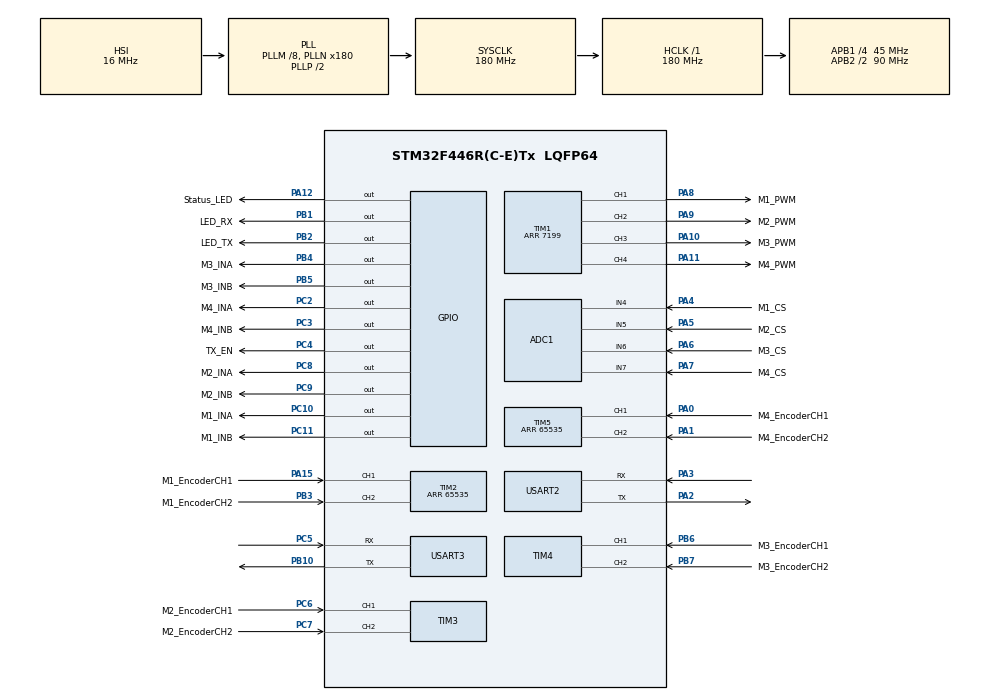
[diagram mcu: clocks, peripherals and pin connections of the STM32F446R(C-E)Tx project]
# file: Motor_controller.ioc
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ADC1.Channel-0\#ChannelRegularConversion=ADC_CHANNEL_4
ADC1.ContinuousConvMode=ENABLE
ADC1.DMAContinuousRequests=ENABLE
ADC1.NbrOfConversion=1
ADC1.NbrOfConversionFlag=1
ADC1.Rank-0\#ChannelRegularConversion=1
ADC1.SamplingTime-0\#ChannelRegularConversion=ADC_SAMPLETIME_3CYCLES
ADC1.ScanConvMode=DISABLE
ADC1.master=1
Dma.ADC1.0.Direction=DMA_PERIPH_TO_MEMORY
Dma.ADC1.0.FIFOMode=DMA_FIFOMODE_DISABLE
Dma.ADC1.0.Instance=DMA2_Stream0
Dma.ADC1.0.MemDataAlignment=DMA_MDATAALIGN_HALFWORD
Dma.ADC1.0.MemInc=DMA_MINC_ENABLE
Dma.ADC1.0.Mode=DMA_CIRCULAR
Dma.ADC1.0.PeriphDataAlignment=DMA_PDATAALIGN_HALFWORD
Dma.ADC1.0.PeriphInc=DMA_PINC_DISABLE
Dma.ADC1.0.Priority=DMA_PRIORITY_LOW
Dma.Request0=ADC1
Mcu.Family=STM32F4
Mcu.Name=STM32F446R(C-E)Tx
Mcu.Package=LQFP64
NVIC.DMA2_Stream0_IRQn=true\:0\:0\:false\:false\:true\:false\:true\:true
NVIC.PriorityGroup=NVIC_PRIORITYGROUP_4
NVIC.TIM1_TRG_COM_TIM11_IRQn=true\:0\:0\:false\:false\:true\:true\:true\:true
NVIC.TIM1_UP_TIM10_IRQn=true\:0\:0\:false\:false\:true\:true\:true\:true
NVIC.TIM2_IRQn=true\:0\:0\:false\:false\:true\:true\:true\:true
NVIC.TIM3_IRQn=true\:0\:0\:false\:false\:true\:true\:true\:true
NVIC.TIM4_IRQn=true\:0\:0\:false\:false\:true\:true\:true\:true
NVIC.TIM5_IRQn=true\:0\:0\:false\:false\:true\:true\:true\:true
NVIC.TIM8_TRG_COM_TIM14_IRQn=true\:0\:0\:false\:false\:true\:true\:true\:true
NVIC.TIM8_UP_TIM13_IRQn=true\:0\:0\:false\:false\:true\:true\:true\:true
NVIC.USART3_IRQn=true\:0\:0\:false\:false\:true\:true\:true\:true
PA0-WKUP.GPIO_Label=M4_EncoderCH1
PA0-WKUP.Signal=S_TIM5_CH1
PA1.GPIO_Label=M4_EncoderCH2
PA1.Signal=S_TIM5_CH2
PA10.GPIO_Label=M3_PWM
PA10.Signal=S_TIM1_CH3
PA11.GPIO_Label=M4_PWM
PA11.Signal=S_TIM1_CH4
PA12.GPIO_Label=Status_LED
PA12.Signal=GPIO_Output
PA13.GPIO_Label=TMS
PA13.Mode=Serial_Wire
PA13.Signal=SYS_JTMS-SWDIO
PA14.GPIO_Label=TCK
PA14.Mode=Serial_Wire
PA14.Signal=SYS_JTCK-SWCLK
PA15.GPIO_Label=M1_EncoderCH1
PA15.Signal=S_TIM2_CH1_ETR
PA2.Mode=Asynchronous
PA2.Signal=USART2_TX
PA3.Mode=Asynchronous
PA3.Signal=USART2_RX
PA4.GPIO_Label=M1_CS
PA4.Signal=ADCx_IN4
PA5.GPIO_Label=M2_CS
PA5.Signal=ADCx_IN5
PA6.GPIO_Label=M3_CS
PA6.Signal=ADCx_IN6
PA7.GPIO_Label=M4_CS
PA7.Signal=ADCx_IN7
PA8.GPIO_Label=M1_PWM
PA8.Signal=S_TIM1_CH1
PA9.GPIO_Label=M2_PWM
PA9.Signal=S_TIM1_CH2
PB1.GPIO_Label=LED_RX
PB1.GPIO_Speed=GPIO_SPEED_FREQ_VERY_HIGH
PB1.Signal=GPIO_Output
PB10.Mode=Asynchronous
PB10.Signal=USART3_TX
PB2.GPIO_Label=LED_TX
PB2.GPIO_Speed=GPIO_SPEED_FREQ_VERY_HIGH
PB2.Signal=GPIO_Output
PB3.GPIO_Label=M1_EncoderCH2
PB3.Signal=S_TIM2_CH2
PB4.GPIO_Label=M3_INA
PB4.GPIO_Speed=GPIO_SPEED_FREQ_VERY_HIGH
PB4.Signal=GPIO_Output
PB5.GPIO_Label=M3_INB
PB5.GPIO_Speed=GPIO_SPEED_FREQ_VERY_HIGH
PB5.Signal=GPIO_Output
PB6.GPIO_Label=M3_EncoderCH1
PB6.Signal=S_TIM4_CH1
PB7.GPIO_Label=M3_EncoderCH2
PB7.Signal=S_TIM4_CH2
PC10.GPIO_Label=M1_INA
PC10.GPIO_Speed=GPIO_SPEED_FREQ_VERY_HIGH
PC10.Signal=GPIO_Output
PC11.GPIO_Label=M1_INB
PC11.GPIO_Speed=GPIO_SPEED_FREQ_VERY_HIGH
PC11.Signal=GPIO_Output
PC14-OSC32_IN.Mode=LSE-External-Oscillator
PC14-OSC32_IN.Signal=RCC_OSC32_IN
PC15-OSC32_OUT.Mode=LSE-External-Oscillator
PC15-OSC32_OUT.Signal=RCC_OSC32_OUT
PC2.GPIO_Label=M4_INA
PC2.GPIO_Speed=GPIO_SPEED_FREQ_VERY_HIGH
PC2.Signal=GPIO_Output
PC3.GPIO_Label=M4_INB
PC3.GPIO_Speed=GPIO_SPEED_FREQ_VERY_HIGH
PC3.Signal=GPIO_Output
PC4.GPIO_Label=TX_EN
PC4.GPIO_Speed=GPIO_SPEED_FREQ_VERY_HIGH
PC4.Signal=GPIO_Output
PC5.Mode=Asynchronous
PC5.Signal=USART3_RX
PC6.GPIO_Label=M2_EncoderCH1
PC6.Signal=S_TIM3_CH1
PC7.GPIO_Label=M2_EncoderCH2
PC7.Signal=S_TIM3_CH2
PC8.GPIO_Label=M2_INA
PC8.GPIO_Speed=GPIO_SPEED_FREQ_VERY_HIGH
PC8.Signal=GPIO_Output
PC9.GPIO_Label=M2_INB
PC9.Signal=GPIO_Output
PH0-OSC_IN.Mode=HSE-External-Oscillator
PH0-OSC_IN.Signal=RCC_OSC_IN
PH1-OSC_OUT.Mode=HSE-External-Oscillator
PH1-OSC_OUT.Signal=RCC_OSC_OUT
ProjectManager.HeapSize=0x200
ProjectManager.StackSize=0x400
ProjectManager.TargetToolchain=STM32CubeIDE
RCC.AHBFreq_Value=180000000
RCC.APB1CLKDivider=RCC_HCLK_DIV4
RCC.APB1Freq_Value=45000000
RCC.APB1TimFreq_Value=90000000
RCC.APB2CLKDivider=RCC_HCLK_DIV2
RCC.APB2Freq_Value=90000000
RCC.APB2TimFreq_Value=180000000
RCC.CortexFreq_Value=180000000
RCC.HCLKFreq_Value=180000000
RCC.HSE_VALUE=8000000
RCC.PLLM=8
RCC.PLLN=180
RCC.SYSCLKFreq_VALUE=180000000
RCC.SYSCLKSource=RCC_SYSCLKSOURCE_PLLCLK
RCC.USBFreq_Value=180000000
RCC.VCOOutputFreq_Value=360000000
SH.ADCx_IN4.0=ADC1_IN4,IN4
SH.ADCx_IN5.0=ADC1_IN5,IN5
SH.ADCx_IN6.0=ADC1_IN6,IN6
SH.ADCx_IN7.0=ADC1_IN7,IN7
SH.S_TIM1_CH1.0=TIM1_CH1,PWM Generation1 CH1
SH.S_TIM1_CH2.0=TIM1_CH2,PWM Generation2 CH2
SH.S_TIM1_CH3.0=TIM1_CH3,PWM Generation3 CH3
SH.S_TIM1_CH4.0=TIM1_CH4,PWM Generation4 CH4
SH.S_TIM2_CH1_ETR.0=TIM2_CH1,Encoder_Interface
SH.S_TIM2_CH2.0=TIM2_CH2,Encoder_Interface
SH.S_TIM3_CH1.0=TIM3_CH1,Encoder_Interface
SH.S_TIM3_CH2.0=TIM3_CH2,Encoder_Interface
SH.S_TIM4_CH1.0=TIM4_CH1,Encoder_Interface
SH.S_TIM4_CH2.0=TIM4_CH2,Encoder_Interface
SH.S_TIM5_CH1.0=TIM5_CH1,Encoder_Interface
SH.S_TIM5_CH2.0=TIM5_CH2,Encoder_Interface
TIM1.Channel-PWM\ Generation1\ CH1=TIM_CHANNEL_1
TIM1.Channel-PWM\ Generation2\ CH2=TIM_CHANNEL_2
TIM1.Channel-PWM\ Generation3\ CH3=TIM_CHANNEL_3
TIM1.Channel-PWM\ Generation4\ CH4=TIM_CHANNEL_4
TIM1.Period=7199
TIM11.Period=10000-1
TIM11.Prescaler=1800-1
TIM13.Period=1000-1
TIM13.Prescaler=1800-1
TIM14.AutoReloadPreload=TIM_AUTORELOAD_PRELOAD_DISABLE
TIM14.Period=500-1
TIM14.Prescaler=1800-1
TIM2.EncoderMode=TIM_ENCODERMODE_TI12
TIM2.Period=65535
TIM3.EncoderMode=TIM_ENCODERMODE_TI12
TIM3.IC1Polarity=TIM_ICPOLARITY_FALLING
TIM4.EncoderMode=TIM_ENCODERMODE_TI12
TIM5.EncoderMode=TIM_ENCODERMODE_TI12
TIM5.IC1Polarity=TIM_ICPOLARITY_FALLING
TIM5.Period=65535
USART2.VirtualMode=VM_ASYNC
USART3.VirtualMode=VM_ASYNC
VP_TIM11_VS_ClockSourceINT.Mode=Enable_Timer
VP_TIM13_VS_ClockSourceINT.Mode=Enable_Timer
VP_TIM14_VS_ClockSourceINT.Mode=Enable_Timer
board=custom

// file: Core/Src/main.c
/* USER CODE BEGIN Header */
/**
  ******************************************************************************
  * @file           : main.c
  * @brief          : Main program body
  ******************************************************************************
  * @attention
  *
  * Copyright (c) 2025 STMicroelectronics.
  * All rights reserved.
  *
  * This software is licensed under terms that can be found in the LICENSE file
  * in the root directory of this software component.
  * If no LICENSE file comes with this software, it is provided AS-IS.
  *
  ******************************************************************************
  */
/* USER CODE END Header */
#include "main.h"

/* USER CODE BEGIN Includes */
#include "motors.h"
#include "encoders.h"
#include "kinematics.h"
#include "bluetoothDebug.h"
#include "delay.h"
#include "profile.h"
#include "controller.h"
#include "motion.h"
#include "RS485.h"

/* USER CODE END Includes */

ADC_HandleTypeDef hadc1;
DMA_HandleTypeDef hdma_adc1;

TIM_HandleTypeDef htim1;
TIM_HandleTypeDef htim2;
TIM_HandleTypeDef htim3;
TIM_HandleTypeDef htim4;
TIM_HandleTypeDef htim5;
TIM_HandleTypeDef htim11;
TIM_HandleTypeDef htim13;
TIM_HandleTypeDef htim14;

UART_HandleTypeDef huart2;
UART_HandleTypeDef huart3;

/* USER CODE BEGIN PV */
uint32_t adc_values[4];
uint8_t rx_idx;
uint8_t rx_buff[100];
uint8_t rx_data[2];

extern float x_distance;
extern float y_distance;

/* USER CODE END PV */

void SystemClock_Config(void);
static void MX_GPIO_Init(void);
static void MX_DMA_Init(void);
static void MX_USART2_UART_Init(void);
static void MX_ADC1_Init(void);
static void MX_TIM1_Init(void);
static void MX_TIM2_Init(void);
static void MX_TIM3_Init(void);
static void MX_TIM4_Init(void);
static void MX_TIM5_Init(void);
static void MX_USART3_UART_Init(void);
static void MX_TIM14_Init(void);
static void MX_TIM13_Init(void);
static void MX_TIM11_Init(void);

/* USER CODE BEGIN 0 */
Profile x_profile;
Profile y_profile;
Profile W_profile;

Controller controller;

Motion motion;

//uint8_t rx_data;

uint8_t rxBuffer[2];
uint8_t rxIndex = 0;
float currentVelocity = DEFAULT_VELOCITY;
uint8_t commandReceived = 0;

/* USER CODE END 0 */

int main(void)
{

  /* MCU Configuration--------------------------------------------------------*/

  /* Reset of all peripherals, Initializes the Flash interface and the Systick. */
  HAL_Init();

  /* Configure the system clock */
  SystemClock_Config();

  /* Initialize all configured peripherals */
  MX_GPIO_Init();
  MX_DMA_Init();
  MX_USART2_UART_Init();
  MX_ADC1_Init();
  MX_TIM1_Init();
  MX_TIM2_Init();
  MX_TIM3_Init();
  MX_TIM4_Init();
  MX_TIM5_Init();
  MX_USART3_UART_Init();
  MX_TIM14_Init();
  MX_TIM13_Init();
  MX_TIM11_Init();
  /* USER CODE BEGIN 2 */
  HAL_TIM_PWM_Start(&htim1, TIM_CHANNEL_1);
  HAL_TIM_PWM_Start(&htim1, TIM_CHANNEL_2);
  HAL_TIM_PWM_Start(&htim1, TIM_CHANNEL_3);
  HAL_TIM_PWM_Start(&htim1, TIM_CHANNEL_4);

  HAL_TIM_Encoder_Start(&htim2, TIM_CHANNEL_ALL);
  HAL_TIM_Encoder_Start(&htim3, TIM_CHANNEL_ALL);
  HAL_TIM_Encoder_Start(&htim4, TIM_CHANNEL_ALL);
  HAL_TIM_Encoder_Start(&htim5, TIM_CHANNEL_ALL);

//  // Initialize kinematics system
//  init_kinematics();

  // Reset encoders
  resetEncoders();

  // Init BLuetooth Debug
  UART_Init(&huart2);

  // Start UART receive interrupt
  HAL_UART_Receive_IT(&huart3, &rxBuffer[rxIndex], 1);

  // Velocity timer
  HAL_TIM_Base_Start_IT(&htim14);
  HAL_TIM_Base_Start_IT(&htim13);
  HAL_TIM_Base_Start_IT(&htim11);

  HAL_GPIO_WritePin(Status_LED_GPIO_Port, Status_LED_Pin, 1);
  HAL_Delay(500);
  HAL_GPIO_WritePin(Status_LED_GPIO_Port, Status_LED_Pin, 0);
  HAL_Delay(500);

  Controller_Init(&controller);
  setTargetVelocities(0, 0, 0, 0);
  Profile_Reset(&x_profile);
  Profile_Reset(&y_profile);
  Profile_Reset(&W_profile);

  Motion_Init(&motion, &controller, &x_profile, &y_profile, &W_profile);
  Controller_ResetControllers(&controller);
  Motion_ResetDriveSystem(&motion);

  //HAL_Delay(5000);

//Profile_Move(&x_profile, 2, 0.25, 0, 0.05);
//  Profile_Move(&y_profile, 4, 0.6, 0, 0.05);
//Profile_Move(&W_profile, 4, 0.6, 0, 0.05);
//
//  Profile_Move(&x_profile, 0, 0, 0, 0);
//  Profile_Move(&y_profile, 0, 0, 0, 0);
//  Profile_Move(&W_profile, 0, 0, 0, 0);

  //Motion_X(&motion, 1);
 //Motion_Y(&motion, -1);
  //float val = (float)25 / 50.0f;
  //Motion_Y(&motion, val);
  //Motion_Diagonal_l(&motion, -1.414);
  //Motion_X(&motion, -1 * (float)50 / 50.0f);

  //HAL_Delay(1000);

  //HAL_UART_Receive_IT(&huart3, rx_data, 1);

  //TIM1->CCR1 = (uint32_t)3500;

//setForwardLeftMotorPWM(0.3);
//setForwardRightMotorPWM(0.6);
//setRearLeftMotorPWM(0.7);
//setRearRightMotorPWM(0.2);

// HAL_Delay(1000);
// //setTargetVelocities(3, 3, 3, 3);
//

//  set_robot_velocity(0.15, 0, 0);
//  HAL_Delay(3000);
//
//  set_robot_velocity(0.18, 0, 0);
//  HAL_Delay(2000);
//  set_robot_velocity(0.15, 0, 0);
//    HAL_Delay(3000);
//
//    set_robot_velocity(0.08, 0, 0);
//

// set_robot_velocity(0, 0, 0);
 //resetIntegralTerms();
  //int i = 0;
  //commandReceived = 1;
  /* USER CODE END 2 */

  /* Infinite loop */
  /* USER CODE BEGIN WHILE */
  while (1)
  {
	 //HAL_Delay(40);

    /* USER CODE END WHILE */

    /* USER CODE BEGIN 3 */
	//int cunt = getRearRightEncoderCounts();
	 //float current = 2.434;
	//UART_Transmit_Float(&huart2, "i", current, 2);
//    UART_Transmit_Int(&huart2, "S", i);
//    UART_Transmit_Int(&huart3, "S", i);
//    i++;
//    HAL_Delay(1000);
//	  SendTelemetryData();
	  if (commandReceived)
		{
			//UART_Transmit_Int(&huart2, "R", rxBuffer[0]);
			ExecuteCommand(rxBuffer[0], rxBuffer[1]);
		  //ExecuteCommand(1, 50);
			commandReceived = 0;
		}
	  //HAL_Delay(100);

	  //UART_Transmit_WheelW(&huart2, m1_W, m4_W, m2_W, m3_W);

  }
  /* USER CODE END 3 */
}

void SystemClock_Config(void)
{
  RCC_OscInitTypeDef RCC_OscInitStruct = {0};
  RCC_ClkInitTypeDef RCC_ClkInitStruct = {0};

  /** Configure the main internal regulator output voltage
  */
  __HAL_RCC_PWR_CLK_ENABLE();
  __HAL_PWR_VOLTAGESCALING_CONFIG(PWR_REGULATOR_VOLTAGE_SCALE1);

  /** Initializes the RCC Oscillators according to the specified parameters
  * in the RCC_OscInitTypeDef structure.
  */
  RCC_OscInitStruct.OscillatorType = RCC_OSCILLATORTYPE_HSI;
  RCC_OscInitStruct.HSIState = RCC_HSI_ON;
  RCC_OscInitStruct.HSICalibrationValue = RCC_HSICALIBRATION_DEFAULT;
  RCC_OscInitStruct.PLL.PLLState = RCC_PLL_ON;
  RCC_OscInitStruct.PLL.PLLSource = RCC_PLLSOURCE_HSI;
  RCC_OscInitStruct.PLL.PLLM = 8;
  RCC_OscInitStruct.PLL.PLLN = 180;
  RCC_OscInitStruct.PLL.PLLP = RCC_PLLP_DIV2;
  RCC_OscInitStruct.PLL.PLLQ = 2;
  RCC_OscInitStruct.PLL.PLLR = 2;
  if (HAL_RCC_OscConfig(&RCC_OscInitStruct) != HAL_OK)
  {
    Error_Handler();
  }

  /** Activate the Over-Drive mode
  */
  if (HAL_PWREx_EnableOverDrive() != HAL_OK)
  {
    Error_Handler();
  }

  /** Initializes the CPU, AHB and APB buses clocks
  */
  RCC_ClkInitStruct.ClockType = RCC_CLOCKTYPE_HCLK|RCC_CLOCKTYPE_SYSCLK
                              |RCC_CLOCKTYPE_PCLK1|RCC_CLOCKTYPE_PCLK2;
  RCC_ClkInitStruct.SYSCLKSource = RCC_SYSCLKSOURCE_PLLCLK;
  RCC_ClkInitStruct.AHBCLKDivider = RCC_SYSCLK_DIV1;
  RCC_ClkInitStruct.APB1CLKDivider = RCC_HCLK_DIV4;
  RCC_ClkInitStruct.APB2CLKDivider = RCC_HCLK_DIV2;

  if (HAL_RCC_ClockConfig(&RCC_ClkInitStruct, FLASH_LATENCY_5) != HAL_OK)
  {
    Error_Handler();
  }
}

static void MX_ADC1_Init(void)
{

  ADC_ChannelConfTypeDef sConfig = {0};

  /** Configure the global features of the ADC (Clock, Resolution, Data Alignment and number of conversion)
  */
  hadc1.Instance = ADC1;
  hadc1.Init.ClockPrescaler = ADC_CLOCK_SYNC_PCLK_DIV4;
  hadc1.Init.Resolution = ADC_RESOLUTION_12B;
  hadc1.Init.ScanConvMode = DISABLE;
  hadc1.Init.ContinuousConvMode = ENABLE;
  hadc1.Init.DiscontinuousConvMode = DISABLE;
  hadc1.Init.ExternalTrigConvEdge = ADC_EXTERNALTRIGCONVEDGE_NONE;
  hadc1.Init.ExternalTrigConv = ADC_SOFTWARE_START;
  hadc1.Init.DataAlign = ADC_DATAALIGN_RIGHT;
  hadc1.Init.NbrOfConversion = 1;
  hadc1.Init.DMAContinuousRequests = ENABLE;
  hadc1.Init.EOCSelection = ADC_EOC_SINGLE_CONV;
  if (HAL_ADC_Init(&hadc1) != HAL_OK)
  {
    Error_Handler();
  }

  /** Configure for the selected ADC regular channel its corresponding rank in the sequencer and its sample time.
  */
  sConfig.Channel = ADC_CHANNEL_4;
  sConfig.Rank = 1;
  sConfig.SamplingTime = ADC_SAMPLETIME_3CYCLES;
  if (HAL_ADC_ConfigChannel(&hadc1, &sConfig) != HAL_OK)
  {
    Error_Handler();
  }

}

static void MX_TIM1_Init(void)
{

  TIM_MasterConfigTypeDef sMasterConfig = {0};
  TIM_OC_InitTypeDef sConfigOC = {0};
  TIM_BreakDeadTimeConfigTypeDef sBreakDeadTimeConfig = {0};

  htim1.Instance = TIM1;
  htim1.Init.Prescaler = 0;
  htim1.Init.CounterMode = TIM_COUNTERMODE_UP;
  htim1.Init.Period = 7199;
  htim1.Init.ClockDivision = TIM_CLOCKDIVISION_DIV1;
  htim1.Init.RepetitionCounter = 0;
  htim1.Init.AutoReloadPreload = TIM_AUTORELOAD_PRELOAD_DISABLE;
  if (HAL_TIM_PWM_Init(&htim1) != HAL_OK)
  {
    Error_Handler();
  }
  sMasterConfig.MasterOutputTrigger = TIM_TRGO_RESET;
  sMasterConfig.MasterSlaveMode = TIM_MASTERSLAVEMODE_DISABLE;
  if (HAL_TIMEx_MasterConfigSynchronization(&htim1, &sMasterConfig) != HAL_OK)
  {
    Error_Handler();
  }
  sConfigOC.OCMode = TIM_OCMODE_PWM1;
  sConfigOC.Pulse = 0;
  sConfigOC.OCPolarity = TIM_OCPOLARITY_HIGH;
  sConfigOC.OCNPolarity = TIM_OCNPOLARITY_HIGH;
  sConfigOC.OCFastMode = TIM_OCFAST_DISABLE;
  sConfigOC.OCIdleState = TIM_OCIDLESTATE_RESET;
  sConfigOC.OCNIdleState = TIM_OCNIDLESTATE_RESET;
  if (HAL_TIM_PWM_ConfigChannel(&htim1, &sConfigOC, TIM_CHANNEL_1) != HAL_OK)
  {
    Error_Handler();
  }
  if (HAL_TIM_PWM_ConfigChannel(&htim1, &sConfigOC, TIM_CHANNEL_2) != HAL_OK)
  {
    Error_Handler();
  }
  if (HAL_TIM_PWM_ConfigChannel(&htim1, &sConfigOC, TIM_CHANNEL_3) != HAL_OK)
  {
    Error_Handler();
  }
  if (HAL_TIM_PWM_ConfigChannel(&htim1, &sConfigOC, TIM_CHANNEL_4) != HAL_OK)
  {
    Error_Handler();
  }
  sBreakDeadTimeConfig.OffStateRunMode = TIM_OSSR_DISABLE;
  sBreakDeadTimeConfig.OffStateIDLEMode = TIM_OSSI_DISABLE;
  sBreakDeadTimeConfig.LockLevel = TIM_LOCKLEVEL_OFF;
  sBreakDeadTimeConfig.DeadTime = 0;
  sBreakDeadTimeConfig.BreakState = TIM_BREAK_DISABLE;
  sBreakDeadTimeConfig.BreakPolarity = TIM_BREAKPOLARITY_HIGH;
  sBreakDeadTimeConfig.AutomaticOutput = TIM_AUTOMATICOUTPUT_DISABLE;
  if (HAL_TIMEx_ConfigBreakDeadTime(&htim1, &sBreakDeadTimeConfig) != HAL_OK)
  {
    Error_Handler();
  }
  HAL_TIM_MspPostInit(&htim1);

}

static void MX_TIM2_Init(void)
{

  TIM_Encoder_InitTypeDef sConfig = {0};
  TIM_MasterConfigTypeDef sMasterConfig = {0};

  htim2.Instance = TIM2;
  htim2.Init.Prescaler = 0;
  htim2.Init.CounterMode = TIM_COUNTERMODE_UP;
  htim2.Init.Period = 65535;
  htim2.Init.ClockDivision = TIM_CLOCKDIVISION_DIV1;
  htim2.Init.AutoReloadPreload = TIM_AUTORELOAD_PRELOAD_DISABLE;
  sConfig.EncoderMode = TIM_ENCODERMODE_TI12;
  sConfig.IC1Polarity = TIM_ICPOLARITY_RISING;
  sConfig.IC1Selection = TIM_ICSELECTION_DIRECTTI;
  sConfig.IC1Prescaler = TIM_ICPSC_DIV1;
  sConfig.IC1Filter = 0;
  sConfig.IC2Polarity = TIM_ICPOLARITY_RISING;
  sConfig.IC2Selection = TIM_ICSELECTION_DIRECTTI;
  sConfig.IC2Prescaler = TIM_ICPSC_DIV1;
  sConfig.IC2Filter = 0;
  if (HAL_TIM_Encoder_Init(&htim2, &sConfig) != HAL_OK)
  {
    Error_Handler();
  }
  sMasterConfig.MasterOutputTrigger = TIM_TRGO_RESET;
  sMasterConfig.MasterSlaveMode = TIM_MASTERSLAVEMODE_DISABLE;
  if (HAL_TIMEx_MasterConfigSynchronization(&htim2, &sMasterConfig) != HAL_OK)
  {
    Error_Handler();
  }

}

static void MX_TIM3_Init(void)
{

  TIM_Encoder_InitTypeDef sConfig = {0};
  TIM_MasterConfigTypeDef sMasterConfig = {0};

  htim3.Instance = TIM3;
  htim3.Init.Prescaler = 0;
  htim3.Init.CounterMode = TIM_COUNTERMODE_UP;
  htim3.Init.Period = 65535;
  htim3.Init.ClockDivision = TIM_CLOCKDIVISION_DIV1;
  htim3.Init.AutoReloadPreload = TIM_AUTORELOAD_PRELOAD_DISABLE;
  sConfig.EncoderMode = TIM_ENCODERMODE_TI12;
  sConfig.IC1Polarity = TIM_ICPOLARITY_FALLING;
  sConfig.IC1Selection = TIM_ICSELECTION_DIRECTTI;
  sConfig.IC1Prescaler = TIM_ICPSC_DIV1;
  sConfig.IC1Filter = 0;
  sConfig.IC2Polarity = TIM_ICPOLARITY_RISING;
  sConfig.IC2Selection = TIM_ICSELECTION_DIRECTTI;
  sConfig.IC2Prescaler = TIM_ICPSC_DIV1;
  sConfig.IC2Filter = 0;
  if (HAL_TIM_Encoder_Init(&htim3, &sConfig) != HAL_OK)
  {
    Error_Handler();
  }
  sMasterConfig.MasterOutputTrigger = TIM_TRGO_RESET;
  sMasterConfig.MasterSlaveMode = TIM_MASTERSLAVEMODE_DISABLE;
  if (HAL_TIMEx_MasterConfigSynchronization(&htim3, &sMasterConfig) != HAL_OK)
  {
    Error_Handler();
  }

}

static void MX_TIM4_Init(void)
{

  TIM_Encoder_InitTypeDef sConfig = {0};
  TIM_MasterConfigTypeDef sMasterConfig = {0};

  htim4.Instance = TIM4;
  htim4.Init.Prescaler = 0;
  htim4.Init.CounterMode = TIM_COUNTERMODE_UP;
  htim4.Init.Period = 65535;
  htim4.Init.ClockDivision = TIM_CLOCKDIVISION_DIV1;
  htim4.Init.AutoReloadPreload = TIM_AUTORELOAD_PRELOAD_DISABLE;
  sConfig.EncoderMode = TIM_ENCODERMODE_TI12;
  sConfig.IC1Polarity = TIM_ICPOLARITY_RISING;
  sConfig.IC1Selection = TIM_ICSELECTION_DIRECTTI;
  sConfig.IC1Prescaler = TIM_ICPSC_DIV1;
  sConfig.IC1Filter = 0;
  sConfig.IC2Polarity = TIM_ICPOLARITY_RISING;
  sConfig.IC2Selection = TIM_ICSELECTION_DIRECTTI;
  sConfig.IC2Prescaler = TIM_ICPSC_DIV1;
  sConfig.IC2Filter = 0;
  if (HAL_TIM_Encoder_Init(&htim4, &sConfig) != HAL_OK)
  {
    Error_Handler();
  }
  sMasterConfig.MasterOutputTrigger = TIM_TRGO_RESET;
  sMasterConfig.MasterSlaveMode = TIM_MASTERSLAVEMODE_DISABLE;
  if (HAL_TIMEx_MasterConfigSynchronization(&htim4, &sMasterConfig) != HAL_OK)
  {
    Error_Handler();
  }

}

static void MX_TIM5_Init(void)
{

  TIM_Encoder_InitTypeDef sConfig = {0};
  TIM_MasterConfigTypeDef sMasterConfig = {0};

  htim5.Instance = TIM5;
  htim5.Init.Prescaler = 0;
  htim5.Init.CounterMode = TIM_COUNTERMODE_UP;
  htim5.Init.Period = 65535;
  htim5.Init.ClockDivision = TIM_CLOCKDIVISION_DIV1;
  htim5.Init.AutoReloadPreload = TIM_AUTORELOAD_PRELOAD_DISABLE;
  sConfig.EncoderMode = TIM_ENCODERMODE_TI12;
  sConfig.IC1Polarity = TIM_ICPOLARITY_FALLING;
  sConfig.IC1Selection = TIM_ICSELECTION_DIRECTTI;
  sConfig.IC1Prescaler = TIM_ICPSC_DIV1;
  sConfig.IC1Filter = 0;
  sConfig.IC2Polarity = TIM_ICPOLARITY_RISING;
  sConfig.IC2Selection = TIM_ICSELECTION_DIRECTTI;
  sConfig.IC2Prescaler = TIM_ICPSC_DIV1;
  sConfig.IC2Filter = 0;
  if (HAL_TIM_Encoder_Init(&htim5, &sConfig) != HAL_OK)
  {
    Error_Handler();
  }
  sMasterConfig.MasterOutputTrigger = TIM_TRGO_RESET;
  sMasterConfig.MasterSlaveMode = TIM_MASTERSLAVEMODE_DISABLE;
  if (HAL_TIMEx_MasterConfigSynchronization(&htim5, &sMasterConfig) != HAL_OK)
  {
    Error_Handler();
  }

}

static void MX_TIM11_Init(void)
{

  htim11.Instance = TIM11;
  htim11.Init.Prescaler = 1800-1;
  htim11.Init.CounterMode = TIM_COUNTERMODE_UP;
  htim11.Init.Period = 10000-1;
  htim11.Init.ClockDivision = TIM_CLOCKDIVISION_DIV1;
  htim11.Init.AutoReloadPreload = TIM_AUTORELOAD_PRELOAD_DISABLE;
  if (HAL_TIM_Base_Init(&htim11) != HAL_OK)
  {
    Error_Handler();
  }

}

static void MX_TIM13_Init(void)
{

  htim13.Instance = TIM13;
  htim13.Init.Prescaler = 1800-1;
  htim13.Init.CounterMode = TIM_COUNTERMODE_UP;
  htim13.Init.Period = 1000-1;
  htim13.Init.ClockDivision = TIM_CLOCKDIVISION_DIV1;
  htim13.Init.AutoReloadPreload = TIM_AUTORELOAD_PRELOAD_DISABLE;
  if (HAL_TIM_Base_Init(&htim13) != HAL_OK)
  {
    Error_Handler();
  }

}

static void MX_TIM14_Init(void)
{

  htim14.Instance = TIM14;
  htim14.Init.Prescaler = 1800-1;
  htim14.Init.CounterMode = TIM_COUNTERMODE_UP;
  htim14.Init.Period = 500-1;
  htim14.Init.ClockDivision = TIM_CLOCKDIVISION_DIV1;
  htim14.Init.AutoReloadPreload = TIM_AUTORELOAD_PRELOAD_DISABLE;
  if (HAL_TIM_Base_Init(&htim14) != HAL_OK)
  {
    Error_Handler();
  }

}

static void MX_USART2_UART_Init(void)
{

  huart2.Instance = USART2;
  huart2.Init.BaudRate = 115200;
  huart2.Init.WordLength = UART_WORDLENGTH_8B;
  huart2.Init.StopBits = UART_STOPBITS_1;
  huart2.Init.Parity = UART_PARITY_NONE;
  huart2.Init.Mode = UART_MODE_TX_RX;
  huart2.Init.HwFlowCtl = UART_HWCONTROL_NONE;
  huart2.Init.OverSampling = UART_OVERSAMPLING_16;
  if (HAL_UART_Init(&huart2) != HAL_OK)
  {
    Error_Handler();
  }

}

static void MX_USART3_UART_Init(void)
{

  huart3.Instance = USART3;
  huart3.Init.BaudRate = 115200;
  huart3.Init.WordLength = UART_WORDLENGTH_8B;
  huart3.Init.StopBits = UART_STOPBITS_1;
  huart3.Init.Parity = UART_PARITY_NONE;
  huart3.Init.Mode = UART_MODE_TX_RX;
  huart3.Init.HwFlowCtl = UART_HWCONTROL_NONE;
  huart3.Init.OverSampling = UART_OVERSAMPLING_16;
  if (HAL_UART_Init(&huart3) != HAL_OK)
  {
    Error_Handler();
  }

}

static void MX_DMA_Init(void)
{

  /* DMA controller clock enable */
  __HAL_RCC_DMA2_CLK_ENABLE();

  /* DMA interrupt init */
  /* DMA2_Stream0_IRQn interrupt configuration */
  HAL_NVIC_SetPriority(DMA2_Stream0_IRQn, 0, 0);
  HAL_NVIC_EnableIRQ(DMA2_Stream0_IRQn);

}

static void MX_GPIO_Init(void)
{
  GPIO_InitTypeDef GPIO_InitStruct = {0};

  /* GPIO Ports Clock Enable */
  __HAL_RCC_GPIOC_CLK_ENABLE();
  __HAL_RCC_GPIOH_CLK_ENABLE();
  __HAL_RCC_GPIOA_CLK_ENABLE();
  __HAL_RCC_GPIOB_CLK_ENABLE();

  /*Configure GPIO pin Output Level */
  HAL_GPIO_WritePin(GPIOC, M4_INA_Pin|M4_INB_Pin|TX_EN_Pin|M2_INA_Pin
                          |M2_INB_Pin|M1_INA_Pin|M1_INB_Pin, GPIO_PIN_RESET);

  /*Configure GPIO pin Output Level */
  HAL_GPIO_WritePin(GPIOB, LED_RX_Pin|LED_TX_Pin|M3_INA_Pin|M3_INB_Pin, GPIO_PIN_RESET);

  /*Configure GPIO pin Output Level */
  HAL_GPIO_WritePin(Status_LED_GPIO_Port, Status_LED_Pin, GPIO_PIN_RESET);

  /*Configure GPIO pins : M4_INA_Pin M4_INB_Pin TX_EN_Pin M2_INA_Pin
                           M1_INA_Pin M1_INB_Pin */
  GPIO_InitStruct.Pin = M4_INA_Pin|M4_INB_Pin|TX_EN_Pin|M2_INA_Pin
                          |M1_INA_Pin|M1_INB_Pin;
  GPIO_InitStruct.Mode = GPIO_MODE_OUTPUT_PP;
  GPIO_InitStruct.Pull = GPIO_NOPULL;
  GPIO_InitStruct.Speed = GPIO_SPEED_FREQ_VERY_HIGH;
  HAL_GPIO_Init(GPIOC, &GPIO_InitStruct);

  /*Configure GPIO pins : LED_RX_Pin LED_TX_Pin M3_INA_Pin M3_INB_Pin */
  GPIO_InitStruct.Pin = LED_RX_Pin|LED_TX_Pin|M3_INA_Pin|M3_INB_Pin;
  GPIO_InitStruct.Mode = GPIO_MODE_OUTPUT_PP;
  GPIO_InitStruct.Pull = GPIO_NOPULL;
  GPIO_InitStruct.Speed = GPIO_SPEED_FREQ_VERY_HIGH;
  HAL_GPIO_Init(GPIOB, &GPIO_InitStruct);

  /*Configure GPIO pin : M2_INB_Pin */
  GPIO_InitStruct.Pin = M2_INB_Pin;
  GPIO_InitStruct.Mode = GPIO_MODE_OUTPUT_PP;
  GPIO_InitStruct.Pull = GPIO_NOPULL;
  GPIO_InitStruct.Speed = GPIO_SPEED_FREQ_LOW;
  HAL_GPIO_Init(M2_INB_GPIO_Port, &GPIO_InitStruct);

  /*Configure GPIO pin : Status_LED_Pin */
  GPIO_InitStruct.Pin = Status_LED_Pin;
  GPIO_InitStruct.Mode = GPIO_MODE_OUTPUT_PP;
  GPIO_InitStruct.Pull = GPIO_NOPULL;
  GPIO_InitStruct.Speed = GPIO_SPEED_FREQ_LOW;
  HAL_GPIO_Init(Status_LED_GPIO_Port, &GPIO_InitStruct);

}

/* USER CODE BEGIN 4 */
ADC_HandleTypeDef* Get_HADC1_Ptr(void)
{
    return &hadc1;
}

void HAL_TIM_PeriodElapsedCallback(TIM_HandleTypeDef *htim){
	if(htim == &htim14){
		update_Encoder_Data();
		updateMotors();
		//updateMotors();
		//UART_Transmit_Int(&huart2, "S", HAL_GetTick());
	}
	else if(htim == &htim13){
		//UART_Transmit_Int(&huart2, "B", HAL_GetTick());

//		Profile_Update(&x_profile);
//		Profile_Update(&y_profile);
//		Profile_Update(&W_profile);
		Motion_Update(&motion);
//		UpdateControllers(&controller, Profile_GetSpeed(&x_profile), Profile_GetSpeed(&y_profile),  Profile_GetSpeed(&W_profile), 0);
		UpdateControllers(&controller, Motion_XVelocity(&motion), Motion_YVelocity(&motion),  Motion_Omega(&motion), 0);

	}
	else if(htim == &htim11){
		//Transmit Telemetry data
		//UART_Transmit_Int(&huart2, "T", HAL_GetTick());
		SendDistanceTelemetry(x_distance, y_distance);
	}
}
void HAL_UART_RxCpltCallback(UART_HandleTypeDef *huart)
{
	if (huart->Instance == USART3)
	    {
//		HAL_GPIO_TogglePin(LED_RX_GPIO_Port, LED_RX_Pin);
	        rxIndex++;
	        HAL_GPIO_WritePin(LED_RX_GPIO_Port, LED_RX_Pin, 1);

	        if (rxIndex >= 2)
	        {
	        	HAL_GPIO_WritePin(LED_RX_GPIO_Port, LED_RX_Pin, 0);
	            // Complete command received
	            commandReceived = 1;
	            rxIndex = 0;

	            // Echo back the received command

	            //HAL_UART_Transmit(&huart2, rxBuffer, 2, 100);

	        }

	        // Continue receiving
	        HAL_UART_Receive_IT(&huart3, &rxBuffer[rxIndex], 1);
	    }

//  if (huart == &huart3)
//  {
//    // Transmit received data via USART2
//
//
//    HAL_UART_Transmit(&huart2, rx_data, 1, HAL_MAX_DELAY);
//	//UART_Transmit_Int(&huart2, "RT", 69);
//
//    HAL_GPIO_TogglePin(Status_LED_GPIO_Port, Status_LED_Pin);
//
//    // Restart reception
//    HAL_UART_Receive_IT(&huart3, rx_data, 1);
//  }
}
/* USER CODE END 4 */

void Error_Handler(void)
{
  __disable_irq();
  while (1)
  {
  }
}
